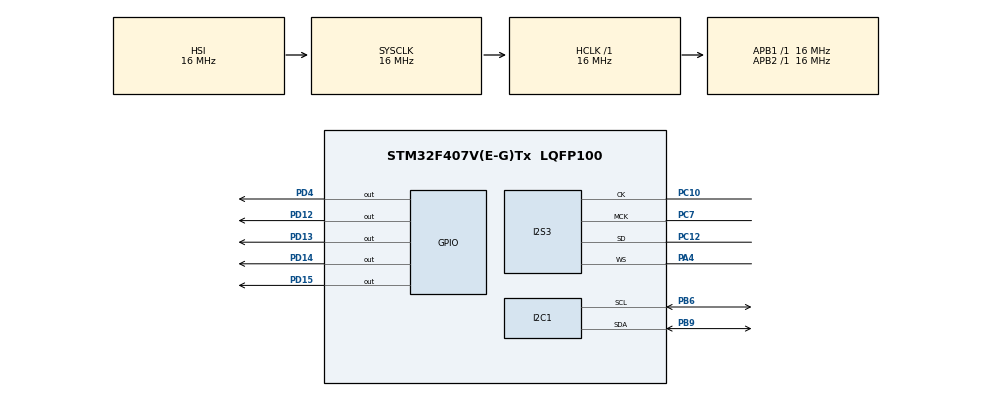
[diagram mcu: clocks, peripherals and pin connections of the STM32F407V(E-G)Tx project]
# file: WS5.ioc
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Dma.Request0=SPI3_TX
Dma.SPI3_TX.0.Direction=DMA_MEMORY_TO_PERIPH
Dma.SPI3_TX.0.FIFOMode=DMA_FIFOMODE_ENABLE
Dma.SPI3_TX.0.FIFOThreshold=DMA_FIFO_THRESHOLD_FULL
Dma.SPI3_TX.0.Instance=DMA1_Stream5
Dma.SPI3_TX.0.MemBurst=DMA_MBURST_SINGLE
Dma.SPI3_TX.0.MemDataAlignment=DMA_MDATAALIGN_HALFWORD
Dma.SPI3_TX.0.MemInc=DMA_MINC_ENABLE
Dma.SPI3_TX.0.Mode=DMA_CIRCULAR
Dma.SPI3_TX.0.PeriphBurst=DMA_PBURST_SINGLE
Dma.SPI3_TX.0.PeriphDataAlignment=DMA_PDATAALIGN_HALFWORD
Dma.SPI3_TX.0.PeriphInc=DMA_PINC_DISABLE
Dma.SPI3_TX.0.Priority=DMA_PRIORITY_LOW
I2S3.AudioFreq=I2S_AUDIOFREQ_48K
I2S3.ErrorAudioFreq=-2.34 %
I2S3.FullDuplexMode=I2S_FULLDUPLEXMODE_DISABLE
I2S3.Instance=SPI$Index
I2S3.RealAudioFreq=46.875 KHz
I2S3.VirtualMode=I2S_MODE_MASTER
Mcu.Family=STM32F4
Mcu.Name=STM32F407V(E-G)Tx
Mcu.Package=LQFP100
NVIC.DMA1_Stream5_IRQn=true\:0\:0\:false\:false\:true\:false\:true\:true
NVIC.PriorityGroup=NVIC_PRIORITYGROUP_4
PA4.Mode=Half_Duplex_Master
PA4.Signal=I2S3_WS
PB6.Mode=I2C
PB6.Signal=I2C1_SCL
PB9.Mode=I2C
PB9.Signal=I2C1_SDA
PC10.Mode=Half_Duplex_Master
PC10.Signal=I2S3_CK
PC12.Mode=Half_Duplex_Master
PC12.Signal=I2S3_SD
PC7.Mode=Master_Clock_Activated
PC7.Signal=I2S3_MCK
PD12.Signal=GPIO_Output
PD13.Signal=GPIO_Output
PD14.Signal=GPIO_Output
PD15.Signal=GPIO_Output
PD4.Signal=GPIO_Output
ProjectManager.HeapSize=0x200
ProjectManager.StackSize=0x400
ProjectManager.TargetToolchain=STM32CubeIDE
RCC.AHBFreq_Value=16000000
RCC.APB1Freq_Value=16000000
RCC.APB2Freq_Value=16000000
RCC.CortexFreq_Value=16000000
RCC.HSE_VALUE=25000000
RCC.HSI_VALUE=16000000
RCC.LSE_VALUE=32768
RCC.SYSCLKFreq_VALUE=16000000
RCC.VCOOutputFreq_Value=192000000
board=custom

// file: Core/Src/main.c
/* USER CODE BEGIN Header */
/**
  ******************************************************************************
  * @file           : main.c
  * @brief          : Main program body
  ******************************************************************************
  * @attention
  *
  * Copyright (c) 2024 STMicroelectronics.
  * All rights reserved.
  *
  * This software is licensed under terms that can be found in the LICENSE file
  * in the root directory of this software component.
  * If no LICENSE file comes with this software, it is provided AS-IS.
  *
  ******************************************************************************
  */
/* USER CODE END Header */
#include "main.h"

/* USER CODE BEGIN PTD */

typedef enum
{
	C4,
	C5,
	D5,
	E5,
	F5,
	G5,
	A5,
	B5,
	C6,
	D6,
	E6,
	F6,
	G6,
	A6,
	B6,
	C7,
	MAX_VALUE
} soundToneType;

/* USER CODE END PTD */

/* USER CODE BEGIN PD */

#define CS43L22_I2C_ADDRESS		0x94
#define I2C_TIMEOUT				10

/* USER CODE END PD */

I2C_HandleTypeDef hi2c1;

I2S_HandleTypeDef hi2s3;
DMA_HandleTypeDef hdma_spi3_tx;

/* USER CODE BEGIN PV */

int16_t dataI2S[100] = {0};

/* USER CODE END PV */

void SystemClock_Config(void);
static void MX_GPIO_Init(void);
static void MX_DMA_Init(void);
static void MX_I2C1_Init(void);
static void MX_I2S3_Init(void);

/* USER CODE BEGIN 0 */

void CS43L22_Init(void)
{
	// Enable chip
	HAL_GPIO_WritePin(GPIOD, GPIO_PIN_4, GPIO_PIN_SET);

	//
	// Initialization
	//
	uint8_t TxBuffer[2];

	TxBuffer[0] = 0x0D;
	TxBuffer[1] = 0x01;
	HAL_I2C_Master_Transmit(&hi2c1, CS43L22_I2C_ADDRESS, (uint8_t*) &TxBuffer, 2, I2C_TIMEOUT);

	TxBuffer[0] = 0x00;
	TxBuffer[1] = 0x99;
	HAL_I2C_Master_Transmit(&hi2c1, CS43L22_I2C_ADDRESS, (uint8_t*) &TxBuffer, 2, I2C_TIMEOUT);

	TxBuffer[0] = 0x47;
	TxBuffer[1] = 0x80;
	HAL_I2C_Master_Transmit(&hi2c1, CS43L22_I2C_ADDRESS, (uint8_t*) &TxBuffer, 2, I2C_TIMEOUT);

	TxBuffer[0] = 0x32;
	TxBuffer[1] = 0xFF;
	HAL_I2C_Master_Transmit(&hi2c1, CS43L22_I2C_ADDRESS, (uint8_t*) &TxBuffer, 2, I2C_TIMEOUT);

	TxBuffer[0] = 0x32;
	TxBuffer[1] = 0x7F;
	HAL_I2C_Master_Transmit(&hi2c1, CS43L22_I2C_ADDRESS, (uint8_t*) &TxBuffer, 2, I2C_TIMEOUT);

	TxBuffer[0] = 0x00;
	TxBuffer[1] = 0x00;
	HAL_I2C_Master_Transmit(&hi2c1, CS43L22_I2C_ADDRESS, (uint8_t*) &TxBuffer, 2, I2C_TIMEOUT);

	TxBuffer[0] = 0x04;
	TxBuffer[1] = 0xAF;
	HAL_I2C_Master_Transmit(&hi2c1, CS43L22_I2C_ADDRESS, (uint8_t*) &TxBuffer, 2, I2C_TIMEOUT);

	TxBuffer[0] = 0x0D;
	TxBuffer[1] = 0x70;
	HAL_I2C_Master_Transmit(&hi2c1, CS43L22_I2C_ADDRESS, (uint8_t*) &TxBuffer, 2, I2C_TIMEOUT);

	TxBuffer[0] = 0x05;
	TxBuffer[1] = 0x81;
	HAL_I2C_Master_Transmit(&hi2c1, CS43L22_I2C_ADDRESS, (uint8_t*) &TxBuffer, 2, I2C_TIMEOUT);

	TxBuffer[0] = 0x06;
	TxBuffer[1] = 0x07;
	HAL_I2C_Master_Transmit(&hi2c1, CS43L22_I2C_ADDRESS, (uint8_t*) &TxBuffer, 2, I2C_TIMEOUT);

	TxBuffer[0] = 0x0A;
	TxBuffer[1] = 0x00;
	HAL_I2C_Master_Transmit(&hi2c1, CS43L22_I2C_ADDRESS, (uint8_t*) &TxBuffer, 2, I2C_TIMEOUT);

	TxBuffer[0] = 0x27;
	TxBuffer[1] = 0x00;
	HAL_I2C_Master_Transmit(&hi2c1, CS43L22_I2C_ADDRESS, (uint8_t*) &TxBuffer, 2, I2C_TIMEOUT);

	TxBuffer[0] = 0x1A;
	TxBuffer[1] = 0x0A;
	HAL_I2C_Master_Transmit(&hi2c1, CS43L22_I2C_ADDRESS, (uint8_t*) &TxBuffer, 2, I2C_TIMEOUT);

	TxBuffer[0] = 0x1B;
	TxBuffer[1] = 0x0A;
	HAL_I2C_Master_Transmit(&hi2c1, CS43L22_I2C_ADDRESS, (uint8_t*) &TxBuffer, 2, I2C_TIMEOUT);

	TxBuffer[0] = 0x1F;
	TxBuffer[1] = 0x0F;
	HAL_I2C_Master_Transmit(&hi2c1, CS43L22_I2C_ADDRESS, (uint8_t*) &TxBuffer, 2, I2C_TIMEOUT);

	TxBuffer[0] = 0x02;
	TxBuffer[1] = 0x9E;
	HAL_I2C_Master_Transmit(&hi2c1, CS43L22_I2C_ADDRESS, (uint8_t*) &TxBuffer, 2, I2C_TIMEOUT);
}

void CS43L22_Beep(soundToneType pitch, uint32_t duration_ms)
{
	uint8_t TxBuffer[2];

	// Set volume and off time
	TxBuffer[0] = 0x1D;		// Register address
	TxBuffer[1] = 0x00;		// Value (volume and off time)
	HAL_I2C_Master_Transmit(&hi2c1, CS43L22_I2C_ADDRESS, (uint8_t*) &TxBuffer, 2, I2C_TIMEOUT);

	// Set sound frequency
	TxBuffer[0] = 0x1C;		// Register address
	switch (pitch)
	{
		case C4:
			TxBuffer[1] = 0x00;
			break;
		case C5:
			TxBuffer[1] = 0x10;
			break;
		case D5:
			TxBuffer[1] = 0x20;
			break;
		case E5:
			TxBuffer[1] = 0x30;
			break;
		case F5:
			TxBuffer[1] = 0x40;
			break;
		case G5:
			TxBuffer[1] = 0x50;
			break;
		case A5:
			TxBuffer[1] = 0x60;
			break;
		case B5:
			TxBuffer[1] = 0x70;
			break;
		case C6:
			TxBuffer[1] = 0x80;
			break;
		case D6:
			TxBuffer[1] = 0x90;
			break;
		case E6:
			TxBuffer[1] = 0xA0;
			break;
		case F6:
			TxBuffer[1] = 0xB0;
			break;
		case G6:
			TxBuffer[1] = 0xC0;
			break;
		case A6:
			TxBuffer[1] = 0xD0;
			break;
		case B6:
			TxBuffer[1] = 0xE0;
			break;
		case C7:
			TxBuffer[1] = 0xF0;
			break;
		// Assume C4 for all other cases
		case MAX_VALUE:
		default:
			TxBuffer[1] = 0x00;
			break;
	}
	HAL_I2C_Master_Transmit(&hi2c1, CS43L22_I2C_ADDRESS, (uint8_t*) &TxBuffer, 2, I2C_TIMEOUT);

	// Enable continuous mode (SOUND STARTED)
	TxBuffer[0] = 0x1E;		// Register address
	TxBuffer[1] = 0xC0;		// Value (beep and tone configuration)
	HAL_I2C_Master_Transmit(&hi2c1, CS43L22_I2C_ADDRESS, (uint8_t*) &TxBuffer, 2, I2C_TIMEOUT);

	// Playing...
	HAL_Delay(duration_ms);

	// Disable continuous mode (SOUND STOPED)
	TxBuffer[0] = 0x1E;		// Register address
	TxBuffer[1] = 0x00;		// Value (beep and tone configuration)
	HAL_I2C_Master_Transmit(&hi2c1, CS43L22_I2C_ADDRESS, (uint8_t*) &TxBuffer, 2, I2C_TIMEOUT);
}

/* USER CODE END 0 */

int main(void)
{

  /* MCU Configuration--------------------------------------------------------*/

  /* Reset of all peripherals, Initializes the Flash interface and the Systick. */
  HAL_Init();

  /* Configure the system clock */
  SystemClock_Config();

  /* Initialize all configured peripherals */
  MX_GPIO_Init();
  MX_DMA_Init();
  MX_I2C1_Init();
  MX_I2S3_Init();
  /* USER CODE BEGIN 2 */

  // Init DAC
  CS43L22_Init();
  // Transmit empty data
  HAL_I2S_Transmit_DMA(&hi2s3, (uint16_t *)dataI2S, 100);

  for (int i = 0; i < 3; i++){
  	HAL_GPIO_WritePin(GPIOD, GPIO_PIN_12, GPIO_PIN_SET);
	HAL_Delay(300);
	HAL_GPIO_WritePin(GPIOD, GPIO_PIN_12, GPIO_PIN_RESET);
	HAL_GPIO_WritePin(GPIOD, GPIO_PIN_12, GPIO_PIN_SET);
	HAL_Delay(1000);
	HAL_GPIO_WritePin(GPIOD, GPIO_PIN_12, GPIO_PIN_RESET);
	HAL_GPIO_WritePin(GPIOD, GPIO_PIN_12, GPIO_PIN_SET);
	HAL_Delay(300);
	HAL_GPIO_WritePin(GPIOD, GPIO_PIN_12, GPIO_PIN_RESET);

	HAL_GPIO_WritePin(GPIOD, GPIO_PIN_12, GPIO_PIN_SET);
	CS43L22_Beep(E5, 700);
	HAL_GPIO_WritePin(GPIOD, GPIO_PIN_12, GPIO_PIN_RESET);
	HAL_Delay(100);
	HAL_GPIO_WritePin(GPIOD, GPIO_PIN_13, GPIO_PIN_SET);
	CS43L22_Beep(C5, 500);
	HAL_GPIO_WritePin(GPIOD, GPIO_PIN_13, GPIO_PIN_RESET);
	HAL_Delay(100);
	HAL_GPIO_WritePin(GPIOD, GPIO_PIN_14, GPIO_PIN_SET);
	CS43L22_Beep(E5, 500);
	HAL_GPIO_WritePin(GPIOD, GPIO_PIN_14, GPIO_PIN_RESET);
	HAL_Delay(100);
	HAL_GPIO_WritePin(GPIOD, GPIO_PIN_15, GPIO_PIN_SET);
	CS43L22_Beep(C5, 500);
	HAL_GPIO_WritePin(GPIOD, GPIO_PIN_15, GPIO_PIN_RESET);
	HAL_Delay(100);
	HAL_GPIO_WritePin(GPIOD, GPIO_PIN_12, GPIO_PIN_SET);
	CS43L22_Beep(E5, 700);
	HAL_Delay(100);
	CS43L22_Beep(C5, 700);
	HAL_GPIO_WritePin(GPIOD, GPIO_PIN_12, GPIO_PIN_RESET);
	HAL_Delay(100);
	HAL_GPIO_WritePin(GPIOD, GPIO_PIN_13, GPIO_PIN_SET);
	CS43L22_Beep(E5, 500);
	HAL_GPIO_WritePin(GPIOD, GPIO_PIN_13, GPIO_PIN_RESET);
	HAL_Delay(100);
	HAL_GPIO_WritePin(GPIOD, GPIO_PIN_14, GPIO_PIN_SET);
	CS43L22_Beep(C5, 500);
	HAL_GPIO_WritePin(GPIOD, GPIO_PIN_14, GPIO_PIN_RESET);
	HAL_Delay(100);
	HAL_GPIO_WritePin(GPIOD, GPIO_PIN_14, GPIO_PIN_SET);
	CS43L22_Beep(G5, 700);
	HAL_GPIO_WritePin(GPIOD, GPIO_PIN_14, GPIO_PIN_RESET);
	HAL_Delay(500);

	HAL_GPIO_WritePin(GPIOD, GPIO_PIN_12, GPIO_PIN_SET);
	CS43L22_Beep(C6, 500);
	HAL_GPIO_WritePin(GPIOD, GPIO_PIN_12, GPIO_PIN_RESET);
	HAL_Delay(100);
	HAL_GPIO_WritePin(GPIOD, GPIO_PIN_13, GPIO_PIN_SET);
	CS43L22_Beep(D6, 500);
	HAL_GPIO_WritePin(GPIOD, GPIO_PIN_13, GPIO_PIN_RESET);
	HAL_Delay(100);
	HAL_GPIO_WritePin(GPIOD, GPIO_PIN_14, GPIO_PIN_SET);
	CS43L22_Beep(E6, 500);
	HAL_GPIO_WritePin(GPIOD, GPIO_PIN_14, GPIO_PIN_RESET);
	HAL_Delay(100);
	HAL_GPIO_WritePin(GPIOD, GPIO_PIN_15, GPIO_PIN_SET);
	CS43L22_Beep(F6, 500);
	HAL_GPIO_WritePin(GPIOD, GPIO_PIN_15, GPIO_PIN_RESET);
	HAL_Delay(100);
	HAL_GPIO_WritePin(GPIOD, GPIO_PIN_12, GPIO_PIN_SET);
	CS43L22_Beep(G6, 500);
	HAL_GPIO_WritePin(GPIOD, GPIO_PIN_12, GPIO_PIN_RESET);
	HAL_Delay(100);
	HAL_GPIO_WritePin(GPIOD, GPIO_PIN_12, GPIO_PIN_SET);
	CS43L22_Beep(F6, 500);
	HAL_GPIO_WritePin(GPIOD, GPIO_PIN_12, GPIO_PIN_RESET);
	HAL_Delay(100);
	HAL_GPIO_WritePin(GPIOD, GPIO_PIN_13, GPIO_PIN_SET);
	CS43L22_Beep(C6, 500);
	HAL_GPIO_WritePin(GPIOD, GPIO_PIN_13, GPIO_PIN_RESET);
	HAL_Delay(100);
	HAL_GPIO_WritePin(GPIOD, GPIO_PIN_14, GPIO_PIN_SET);
	CS43L22_Beep(G5, 500);
	HAL_GPIO_WritePin(GPIOD, GPIO_PIN_14, GPIO_PIN_RESET);
	HAL_Delay(2000);
  }

  /* USER CODE END 2 */

  /* Infinite loop */
  while (1)
  {

  }
}

void SystemClock_Config(void)
{
  RCC_OscInitTypeDef RCC_OscInitStruct = {0};
  RCC_ClkInitTypeDef RCC_ClkInitStruct = {0};

  /** Macro to configure the PLL multiplication factor
  */
  __HAL_RCC_PLL_PLLM_CONFIG(16);

  /** Macro to configure the PLL clock source
  */
  __HAL_RCC_PLL_PLLSOURCE_CONFIG(RCC_PLLSOURCE_HSI);

  /** Configure the main internal regulator output voltage
  */
  __HAL_RCC_PWR_CLK_ENABLE();
  __HAL_PWR_VOLTAGESCALING_CONFIG(PWR_REGULATOR_VOLTAGE_SCALE1);

  /** Initializes the RCC Oscillators according to the specified parameters
  * in the RCC_OscInitTypeDef structure.
  */
  RCC_OscInitStruct.OscillatorType = RCC_OSCILLATORTYPE_HSI;
  RCC_OscInitStruct.HSIState = RCC_HSI_ON;
  RCC_OscInitStruct.HSICalibrationValue = RCC_HSICALIBRATION_DEFAULT;
  RCC_OscInitStruct.PLL.PLLState = RCC_PLL_NONE;
  RCC_OscInitStruct.PLL.PLLSource = RCC_PLLSOURCE_HSI;
  if (HAL_RCC_OscConfig(&RCC_OscInitStruct) != HAL_OK)
  {
    Error_Handler();
  }

  /** Initializes the CPU, AHB and APB buses clocks
  */
  RCC_ClkInitStruct.ClockType = RCC_CLOCKTYPE_HCLK|RCC_CLOCKTYPE_SYSCLK
                              |RCC_CLOCKTYPE_PCLK1|RCC_CLOCKTYPE_PCLK2;
  RCC_ClkInitStruct.SYSCLKSource = RCC_SYSCLKSOURCE_HSI;
  RCC_ClkInitStruct.AHBCLKDivider = RCC_SYSCLK_DIV1;
  RCC_ClkInitStruct.APB1CLKDivider = RCC_HCLK_DIV1;
  RCC_ClkInitStruct.APB2CLKDivider = RCC_HCLK_DIV1;

  if (HAL_RCC_ClockConfig(&RCC_ClkInitStruct, FLASH_LATENCY_0) != HAL_OK)
  {
    Error_Handler();
  }
}

static void MX_I2C1_Init(void)
{

  hi2c1.Instance = I2C1;
  hi2c1.Init.ClockSpeed = 100000;
  hi2c1.Init.DutyCycle = I2C_DUTYCYCLE_2;
  hi2c1.Init.OwnAddress1 = 0;
  hi2c1.Init.AddressingMode = I2C_ADDRESSINGMODE_7BIT;
  hi2c1.Init.DualAddressMode = I2C_DUALADDRESS_DISABLE;
  hi2c1.Init.OwnAddress2 = 0;
  hi2c1.Init.GeneralCallMode = I2C_GENERALCALL_DISABLE;
  hi2c1.Init.NoStretchMode = I2C_NOSTRETCH_DISABLE;
  if (HAL_I2C_Init(&hi2c1) != HAL_OK)
  {
    Error_Handler();
  }

}

static void MX_I2S3_Init(void)
{

  hi2s3.Instance = SPI3;
  hi2s3.Init.Mode = I2S_MODE_MASTER_TX;
  hi2s3.Init.Standard = I2S_STANDARD_PHILIPS;
  hi2s3.Init.DataFormat = I2S_DATAFORMAT_16B;
  hi2s3.Init.MCLKOutput = I2S_MCLKOUTPUT_ENABLE;
  hi2s3.Init.AudioFreq = I2S_AUDIOFREQ_48K;
  hi2s3.Init.CPOL = I2S_CPOL_LOW;
  hi2s3.Init.ClockSource = I2S_CLOCK_PLL;
  hi2s3.Init.FullDuplexMode = I2S_FULLDUPLEXMODE_DISABLE;
  if (HAL_I2S_Init(&hi2s3) != HAL_OK)
  {
    Error_Handler();
  }

}

static void MX_DMA_Init(void)
{

  /* DMA controller clock enable */
  __HAL_RCC_DMA1_CLK_ENABLE();

  /* DMA interrupt init */
  /* DMA1_Stream5_IRQn interrupt configuration */
  HAL_NVIC_SetPriority(DMA1_Stream5_IRQn, 0, 0);
  HAL_NVIC_EnableIRQ(DMA1_Stream5_IRQn);

}

static void MX_GPIO_Init(void)
{
  GPIO_InitTypeDef GPIO_InitStruct = {0};

  /* GPIO Ports Clock Enable */
  __HAL_RCC_GPIOA_CLK_ENABLE();
  __HAL_RCC_GPIOD_CLK_ENABLE();
  __HAL_RCC_GPIOC_CLK_ENABLE();
  __HAL_RCC_GPIOB_CLK_ENABLE();

  /*Configure GPIO pin Output Level */
  HAL_GPIO_WritePin(GPIOD, GPIO_PIN_12|GPIO_PIN_13|GPIO_PIN_14|GPIO_PIN_15
                          |GPIO_PIN_4, GPIO_PIN_RESET);

  /*Configure GPIO pins : PD12 PD13 PD14 PD15
                           PD4 */
  GPIO_InitStruct.Pin = GPIO_PIN_12|GPIO_PIN_13|GPIO_PIN_14|GPIO_PIN_15
                          |GPIO_PIN_4;
  GPIO_InitStruct.Mode = GPIO_MODE_OUTPUT_PP;
  GPIO_InitStruct.Pull = GPIO_NOPULL;
  GPIO_InitStruct.Speed = GPIO_SPEED_FREQ_LOW;
  HAL_GPIO_Init(GPIOD, &GPIO_InitStruct);

}

void Error_Handler(void)
{
  __disable_irq();
  while (1)
  {
  }
}
